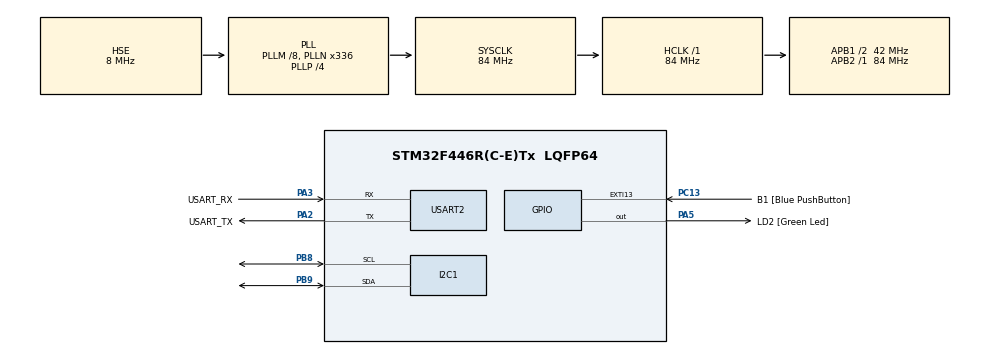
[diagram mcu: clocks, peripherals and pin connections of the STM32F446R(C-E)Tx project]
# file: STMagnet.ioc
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Mcu.Family=STM32F4
Mcu.Name=STM32F446R(C-E)Tx
Mcu.Package=LQFP64
NVIC.PriorityGroup=NVIC_PRIORITYGROUP_0
PA13.GPIO_Label=TMS
PA13.Signal=SYS_JTMS-SWDIO
PA14.GPIO_Label=TCK
PA14.Signal=SYS_JTCK-SWCLK
PA2.GPIO_Label=USART_TX
PA2.Mode=Asynchronous
PA2.Signal=USART2_TX
PA3.GPIO_Label=USART_RX
PA3.Mode=Asynchronous
PA3.Signal=USART2_RX
PA5.GPIO_Label=LD2 [Green Led]
PA5.Signal=GPIO_Output
PB3.GPIO_Label=SWO
PB3.Signal=SYS_JTDO-SWO
PB8.GPIO_Pu=GPIO_PULLUP
PB8.Mode=I2C
PB8.Signal=I2C1_SCL
PB9.GPIO_Pu=GPIO_PULLUP
PB9.Mode=I2C
PB9.Signal=I2C1_SDA
PC13.GPIO_Label=B1 [Blue PushButton]
PC13.GPIO_ModeDefaultEXTI=GPIO_MODE_IT_FALLING
PC13.Signal=GPXTI13
PC14-OSC32_IN.Signal=RCC_OSC32_IN
PC15-OSC32_OUT.Signal=RCC_OSC32_OUT
PH0-OSC_IN.Mode=HSE-External-Oscillator
PH0-OSC_IN.Signal=RCC_OSC_IN
PH1-OSC_OUT.Mode=HSE-External-Oscillator
PH1-OSC_OUT.Signal=RCC_OSC_OUT
ProjectManager.HeapSize=0x200
ProjectManager.StackSize=0x400
ProjectManager.TargetToolchain=Makefile
RCC.AHBFreq_Value=84000000
RCC.APB1CLKDivider=RCC_HCLK_DIV2
RCC.APB1Freq_Value=42000000
RCC.APB1TimFreq_Value=84000000
RCC.APB2Freq_Value=84000000
RCC.APB2TimFreq_Value=84000000
RCC.CortexFreq_Value=84000000
RCC.FLatency-AdvancedSettings=FLASH_LATENCY_2
RCC.HCLKFreq_Value=84000000
RCC.HSE_VALUE=8000000
RCC.HSI_VALUE=16000000
RCC.LSE_VALUE=32768
RCC.PLLM=8
RCC.PLLN=336
RCC.PLLP=RCC_PLLP_DIV4
RCC.PLLSourceVirtual=RCC_PLLSOURCE_HSE
RCC.SYSCLKFreq_VALUE=84000000
RCC.SYSCLKSource=RCC_SYSCLKSOURCE_PLLCLK
RCC.USBFreq_Value=168000000
RCC.VCOOutputFreq_Value=336000000
USART2.VirtualMode=VM_ASYNC
board=NUCLEO-F446RE

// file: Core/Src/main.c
/* USER CODE BEGIN Header */
/**
  ******************************************************************************
  * @file           : main.c
  * @brief          : Main program body
  ******************************************************************************
  * @attention
  *
  * Copyright (c) 2025 STMicroelectronics.
  * All rights reserved.
  *
  * This software is licensed under terms that can be found in the LICENSE file
  * in the root directory of this software component.
  * If no LICENSE file comes with this software, it is provided AS-IS.
  *
  ******************************************************************************
  */
/* USER CODE END Header */
#include "main.h"
#include "i2c.h"
#include "usart.h"
#include "gpio.h"
#include "qmc5883p.h"
#include "ssd1306.h"
#include "filters.h"
#include "calibration.h"
#include <stdint.h>
#include <stdio.h>

/* USER CODE BEGIN PV */

QMC5883P_t magnetometer;
LowPassFilter_t filter;
MagCalibration_t mag_cal;
CalibrationData_t cal_data;

/* USER CODE END PV */

void SystemClock_Config(void);
/* USER CODE BEGIN PFP */

void I2C_Scan(void);

/* USER CODE END PFP */

/* USER CODE BEGIN 0 */

int _write(int file, char *ptr, int len)
{
	HAL_UART_Transmit(&huart2, (uint8_t *)ptr, len, HAL_MAX_DELAY);
	return len;
}

void I2C_Scan(void)
{
	HAL_StatusTypeDef result;
	uint8_t found = 0;

	printf("Scanning I2C bus... \r\n");

	for (uint8_t i = 1; i < 128; ++i)
	{
		result = HAL_I2C_IsDeviceReady(&hi2c1, i << 1, 1, 10);
		if (result == HAL_OK)
		{
			printf("  Device found at addr: 0x%02X\r\n", i);
			++found;
		}
	}

	if (!found)
		printf("  No I2C devices found! check wiring.\r\n");
	else
		printf("  Total devices found: %d\r\n", found);
}

/* USER CODE END 0 */

int main(void)
{

  /* USER CODE BEGIN 1 */
    HAL_StatusTypeDef status;
  /* USER CODE END 1 */

  /* MCU Configuration--------------------------------------------------------*/

  /* Reset of all peripherals, Initializes the Flash interface and the Systick. */
  HAL_Init();

  /* Configure the system clock */
  SystemClock_Config();

  /* Initialize all configured peripherals */
  MX_GPIO_Init();
  MX_I2C1_Init();
  MX_USART2_UART_Init();
  /* USER CODE BEGIN 2 */
	HAL_Delay(2000);
	printf("I2C1 State before init: %d\r\n", hi2c1.State);
	printf("I2C1 Error Code: 0x%08lX\r\n", hi2c1.ErrorCode);

	status = HAL_I2C_GetState(&hi2c1);
	printf("I2C GetState: %d\r\n", status);

	printf("\r\nTrying I2C bus scan...\r\n");
    I2C_Scan();
    printf("\r\n");

    printf("Initializing QMC5883P magnetometer...\r\n");
    status = QMC5883P_Init(&magnetometer, &hi2c1);

    if (status == HAL_OK)
	{
        printf("SUCCESS: Magnetometer initialized!\r\n");
        HAL_GPIO_WritePin(LD2_GPIO_Port, LD2_Pin, GPIO_PIN_SET);
    }
	else
	{
        printf("ERROR: Failed to initialize magnetometer (code: %d)\r\n", status);
        while(1)
		{
            HAL_GPIO_TogglePin(LD2_GPIO_Port, LD2_Pin);
            HAL_Delay(200);
        }
    }
	printf("Initializing OLED display...\r\n");
	if (SSD1306_Init(&hi2c1))
	{
		printf("OLED initialized!\r\n");
		SSD1306_Clear();
		SSD1306_GotoXY(10, 0);
		SSD1306_Puts("Magnetometer", SSD1306_WHITE);
		SSD1306_GotoXY(30, 16);
		SSD1306_UpdateScreen();
		HAL_Delay(2000);
	}
	else
		printf("OLED initialization failed!\r\n");

	Calibration_Init(&mag_cal);
	Calibration_LoadDefaults(&mag_cal);
	LowPassFilter_Init(&filter, 0.1f);

	printf("Using saved calibration values\r\n");
	SSD1306_Clear();
	SSD1306_GotoXY(10, 20);
	SSD1306_Puts("Magnetometer", SSD1306_WHITE);
	SSD1306_GotoXY(30, 32);
	SSD1306_Puts("READY!", SSD1306_WHITE);
	SSD1306_UpdateScreen();
	HAL_Delay(1000);

	printf("Starting measurements...\r\n");
	printf("Move a magnet near the sensor to see values change!\r\n\r\n");
	HAL_Delay(1000);
   /* USER CODE END 2 */

  /* Infinite loop */
  /* USER CODE BEGIN WHILE */
	while (1)
	{
		if (QMC5883P_ReadRaw(&magnetometer) == HAL_OK)
		{
			float cal_x, cal_y, cal_z;
			Calibration_Apply(&mag_cal,
							 magnetometer.x, magnetometer.y, magnetometer.z,
							 &cal_x, &cal_y, &cal_z);

			LowPassFilter_Update(&filter, (int16_t)cal_x, (int16_t)cal_y, (int16_t)cal_z);
			Vector3f_t filtered = filter.filtered;

			float field_strength = Calibration_GetFieldStrength(filtered.x, filtered.y, filtered.z);

			SSD1306_Clear();
			SSD1306_GotoXY(0, 0);
			SSD1306_Puts("MAGNETOMETER", SSD1306_WHITE);

			SSD1306_Printf(0, 16, SSD1306_WHITE, "X:%7.0f", filtered.x);
			SSD1306_Printf(0, 28, SSD1306_WHITE, "Y:%7.0f", filtered.y);
			SSD1306_Printf(0, 40, SSD1306_WHITE, "Z:%7.0f", filtered.z);

			SSD1306_DrawLine(0, 50, 127, 50, SSD1306_WHITE);

			SSD1306_Printf(0, 54, SSD1306_WHITE, "%.1fuT", field_strength);

			if (mag_cal.is_calibrated)
			{
				SSD1306_GotoXY(90, 54);
				SSD1306_Puts("CAL", SSD1306_WHITE);
			}
			else
			{
				SSD1306_GotoXY(90, 54);
				SSD1306_Puts("RAW", SSD1306_WHITE);
			}

			SSD1306_UpdateScreen();

			printf("X:%7.1f Y:%7.1f Z:%7.1f | %.1f uT | %s\r\n",
				   filtered.x, filtered.y, filtered.z,
				   field_strength,
				   mag_cal.is_calibrated ? "CAL" : "RAW");

			HAL_GPIO_TogglePin(LD2_GPIO_Port, LD2_Pin);
		}
		HAL_Delay(100);
	}
  /* USER CODE END 3 */
}

void SystemClock_Config(void)
{
  RCC_OscInitTypeDef RCC_OscInitStruct = {0};
  RCC_ClkInitTypeDef RCC_ClkInitStruct = {0};

  /** Configure the main internal regulator output voltage
  */
  __HAL_RCC_PWR_CLK_ENABLE();
  __HAL_PWR_VOLTAGESCALING_CONFIG(PWR_REGULATOR_VOLTAGE_SCALE3);

  /** Initializes the RCC Oscillators according to the specified parameters
  * in the RCC_OscInitTypeDef structure.
  */
  RCC_OscInitStruct.OscillatorType = RCC_OSCILLATORTYPE_HSE;
  RCC_OscInitStruct.HSEState = RCC_HSE_ON;
  RCC_OscInitStruct.PLL.PLLState = RCC_PLL_ON;
  RCC_OscInitStruct.PLL.PLLSource = RCC_PLLSOURCE_HSE;
  RCC_OscInitStruct.PLL.PLLM = 8;
  RCC_OscInitStruct.PLL.PLLN = 336;
  RCC_OscInitStruct.PLL.PLLP = RCC_PLLP_DIV4;
  RCC_OscInitStruct.PLL.PLLQ = 2;
  RCC_OscInitStruct.PLL.PLLR = 2;
  if (HAL_RCC_OscConfig(&RCC_OscInitStruct) != HAL_OK)
  {
    Error_Handler();
  }

  /** Initializes the CPU, AHB and APB buses clocks
  */
  RCC_ClkInitStruct.ClockType = RCC_CLOCKTYPE_HCLK|RCC_CLOCKTYPE_SYSCLK
                              |RCC_CLOCKTYPE_PCLK1|RCC_CLOCKTYPE_PCLK2;
  RCC_ClkInitStruct.SYSCLKSource = RCC_SYSCLKSOURCE_PLLCLK;
  RCC_ClkInitStruct.AHBCLKDivider = RCC_SYSCLK_DIV1;
  RCC_ClkInitStruct.APB1CLKDivider = RCC_HCLK_DIV2;
  RCC_ClkInitStruct.APB2CLKDivider = RCC_HCLK_DIV1;

  if (HAL_RCC_ClockConfig(&RCC_ClkInitStruct, FLASH_LATENCY_2) != HAL_OK)
  {
    Error_Handler();
  }
}

void Error_Handler(void)
{
  __disable_irq();
  while (1)
  {
  }
}
